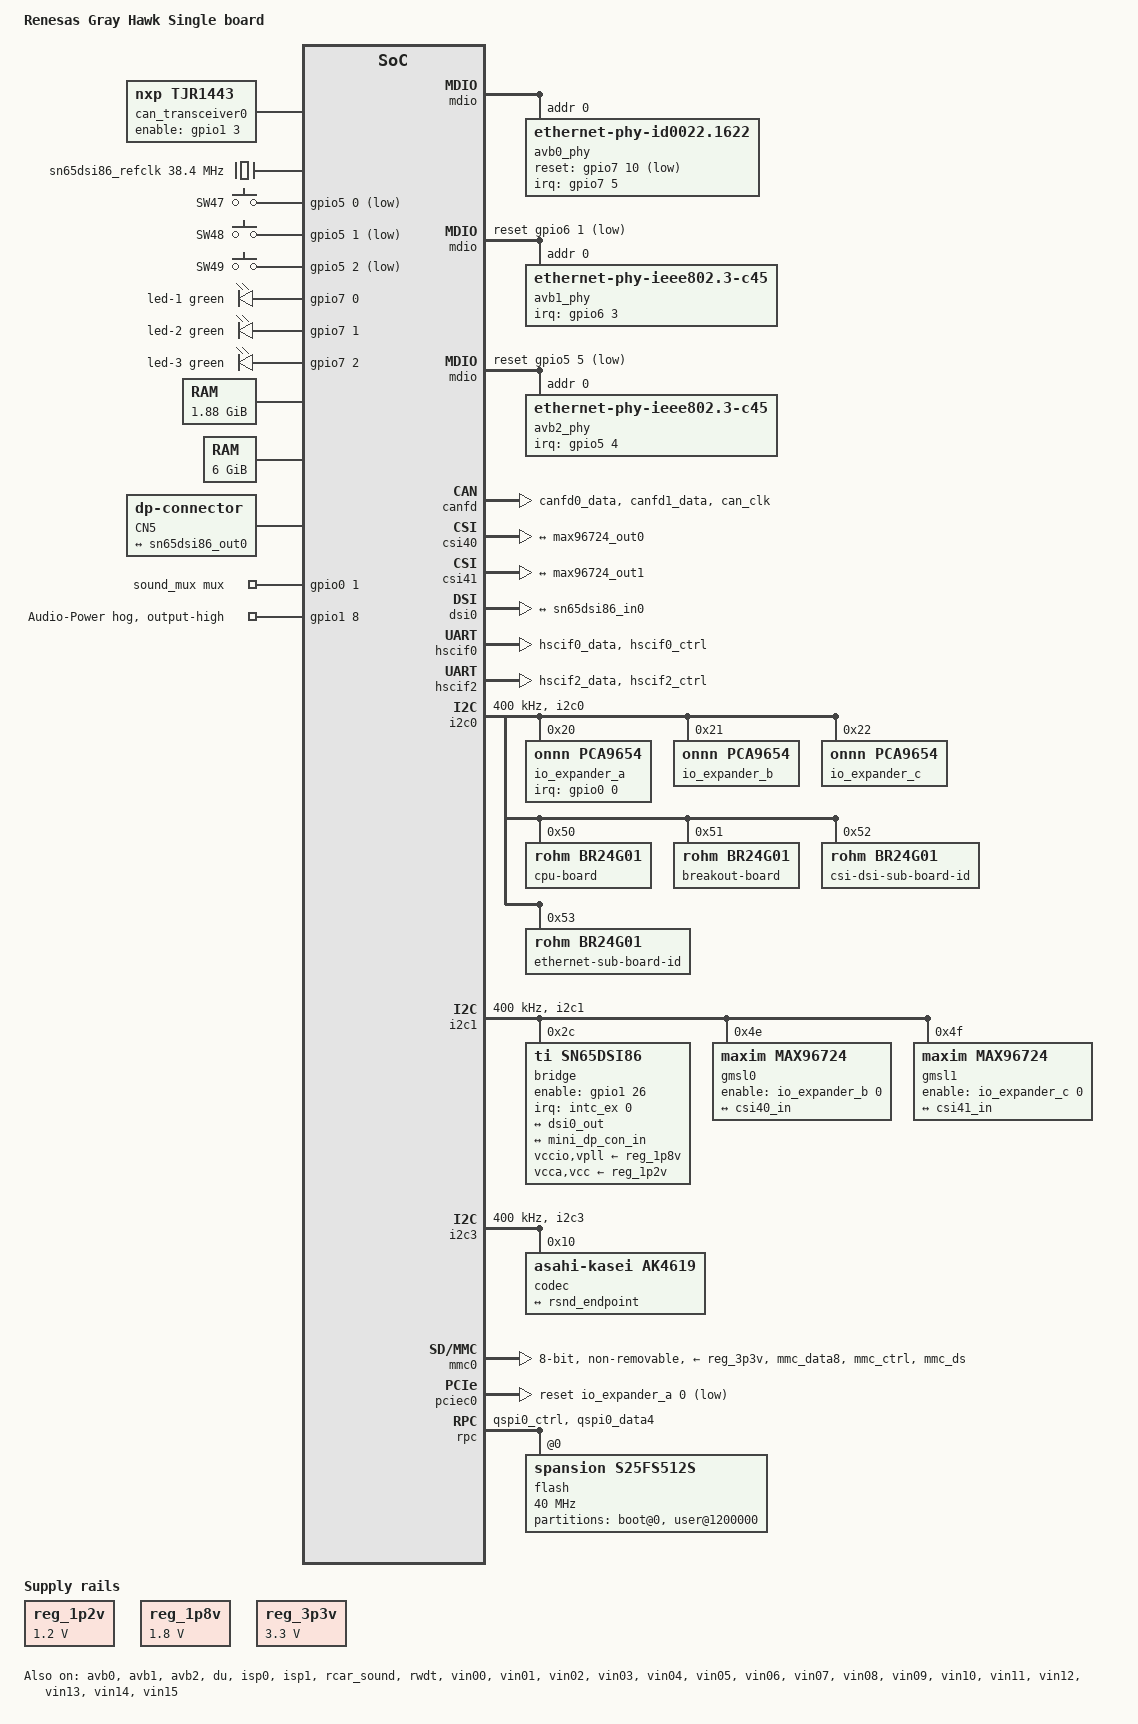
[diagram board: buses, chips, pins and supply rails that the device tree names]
// SPDX-License-Identifier: (GPL-2.0-only OR BSD-2-Clause)
/*
 * Device Tree Source for the Gray Hawk Single board
 *
 * Copyright (C) 2023 Renesas Electronics Corp.
 * Copyright (C) 2024-2025 Glider bv
 */
/*
 * [How to use Sound]
 *
 * Because R-Car V4M has only 1 SSI, it cannot handle both Playback/Capture
 * at the same time. You need to switch the direction which is controlled
 * by the GP0_01 pin via amixer.
 *
 * Playback (CN9500)
 *	> amixer set "MUX" "Playback"	// for GP0_01
 *	> amixer set "DAC 1" 85%
 *	> aplay xxx.wav
 *
 * Capture (CN9501)
 *	> amixer set "MUX" "Capture"	// for GP0_01
 *	> amixer set "Mic 1" 80%
 *	> amixer set "ADC 1" on
 *	> amixer set 'ADC 1' 80%
 *	> arecord xxx hoge.wav
 */

#include <dt-bindings/gpio/gpio.h>
#include <dt-bindings/input/input.h>
#include <dt-bindings/leds/common.h>
#include <dt-bindings/media/video-interfaces.h>

/ {
	model = "Renesas Gray Hawk Single board";
	compatible = "renesas,gray-hawk-single";

	aliases {
		i2c0 = &i2c0;
		i2c1 = &i2c1;
		i2c2 = &i2c2;
		i2c3 = &i2c3;
		serial0 = &hscif0;
		serial1 = &hscif2;
		ethernet0 = &avb0;
		ethernet1 = &avb1;
		ethernet2 = &avb2;
	};

	can_transceiver0: can-phy0 {
		compatible = "nxp,tjr1443";
		#phy-cells = <0>;
		enable-gpios = <&gpio1 3 GPIO_ACTIVE_HIGH>;
		max-bitrate = <5000000>;
	};

	chosen {
		bootargs = "ignore_loglevel rw root=/dev/nfs ip=on";
		stdout-path = "serial0:921600n8";
	};

	sn65dsi86_refclk: clk-x6 {
		compatible = "fixed-clock";
		#clock-cells = <0>;
		clock-frequency = <38400000>;
	};

	keys {
		compatible = "gpio-keys";

		pinctrl-0 = <&keys_pins>;
		pinctrl-names = "default";

		key-1 {
			gpios = <&gpio5 0 GPIO_ACTIVE_LOW>;
			linux,code = <KEY_1>;
			label = "SW47";
			wakeup-source;
			debounce-interval = <20>;
		};

		key-2 {
			gpios = <&gpio5 1 GPIO_ACTIVE_LOW>;
			linux,code = <KEY_2>;
			label = "SW48";
			wakeup-source;
			debounce-interval = <20>;
		};

		key-3 {
			gpios = <&gpio5 2 GPIO_ACTIVE_LOW>;
			linux,code = <KEY_3>;
			label = "SW49";
			wakeup-source;
			debounce-interval = <20>;
		};
	};

	leds {
		compatible = "gpio-leds";

		led-1 {
			gpios = <&gpio7 0 GPIO_ACTIVE_HIGH>;
			color = <LED_COLOR_ID_GREEN>;
			function = LED_FUNCTION_INDICATOR;
			function-enumerator = <1>;
		};

		led-2 {
			gpios = <&gpio7 1 GPIO_ACTIVE_HIGH>;
			color = <LED_COLOR_ID_GREEN>;
			function = LED_FUNCTION_INDICATOR;
			function-enumerator = <2>;
		};

		led-3 {
			gpios = <&gpio7 2 GPIO_ACTIVE_HIGH>;
			color = <LED_COLOR_ID_GREEN>;
			function = LED_FUNCTION_INDICATOR;
			function-enumerator = <3>;
		};
	};

	memory@48000000 {
		device_type = "memory";
		/* first 128MB is reserved for secure area. */
		reg = <0x0 0x48000000 0x0 0x78000000>;
	};

	memory@480000000 {
		device_type = "memory";
		reg = <0x4 0x80000000 0x1 0x80000000>;
	};

	pcie_clk: clk-9fgv0841-pci {
		compatible = "fixed-clock";
		clock-frequency = <100000000>;
		#clock-cells = <0>;
	};

	mini-dp-con {
		compatible = "dp-connector";
		label = "CN5";
		type = "mini";

		port {
			mini_dp_con_in: endpoint {
				remote-endpoint = <&sn65dsi86_out0>;
			};
		};
	};

	reg_1p2v: regulator-1p2v {
		compatible = "regulator-fixed";
		regulator-name = "fixed-1.2V";
		regulator-min-microvolt = <1200000>;
		regulator-max-microvolt = <1200000>;
		regulator-boot-on;
		regulator-always-on;
	};

	reg_1p8v: regulator-1p8v {
		compatible = "regulator-fixed";
		regulator-name = "fixed-1.8V";
		regulator-min-microvolt = <1800000>;
		regulator-max-microvolt = <1800000>;
		regulator-boot-on;
		regulator-always-on;
	};

	reg_3p3v: regulator-3p3v {
		compatible = "regulator-fixed";
		regulator-name = "fixed-3.3V";
		regulator-min-microvolt = <3300000>;
		regulator-max-microvolt = <3300000>;
		regulator-boot-on;
		regulator-always-on;
	};

	sound_mux: sound-mux {
		compatible = "simple-audio-mux";
		mux-gpios = <&gpio0 1 GPIO_ACTIVE_HIGH>;
		state-labels = "Playback", "Capture";
	};

	sound_card: sound {
		compatible = "audio-graph-card2";
		label = "rcar-sound";
		aux-devs = <&sound_mux>; // for GP0_01

		links = <&rsnd_port>; // AK4619 Audio Codec
	};
};

&audio_clkin {
	clock-frequency = <24576000>;
};

&avb0 {
	pinctrl-0 = <&avb0_pins>;
	pinctrl-names = "default";
	phy-handle = <&avb0_phy>;
	tx-internal-delay-ps = <2000>;
	status = "okay";

	mdio {
		#address-cells = <1>;
		#size-cells = <0>;

		avb0_phy: ethernet-phy@0 {
			compatible = "ethernet-phy-id0022.1622",
				"ethernet-phy-ieee802.3-c22";
				rxc-skew-ps = <1500>;
				reg = <0>;
				interrupts-extended = <&gpio7 5 IRQ_TYPE_LEVEL_LOW>;
				reset-gpios = <&gpio7 10 GPIO_ACTIVE_LOW>;
		};
	};
};

&avb1 {
	pinctrl-0 = <&avb1_pins>;
	pinctrl-names = "default";
	phy-handle = <&avb1_phy>;
	status = "okay";

	mdio {
		#address-cells = <1>;
		#size-cells = <0>;

		reset-gpios = <&gpio6 1 GPIO_ACTIVE_LOW>;
		reset-post-delay-us = <4000>;

		avb1_phy: ethernet-phy@0 {
			compatible = "ethernet-phy-ieee802.3-c45";
			reg = <0>;
			interrupts-extended = <&gpio6 3 IRQ_TYPE_LEVEL_LOW>;
		};
	};
};

&avb2 {
	pinctrl-0 = <&avb2_pins>;
	pinctrl-names = "default";
	phy-handle = <&avb2_phy>;
	status = "okay";

	mdio {
		#address-cells = <1>;
		#size-cells = <0>;

		reset-gpios = <&gpio5 5 GPIO_ACTIVE_LOW>;
		reset-post-delay-us = <4000>;

		avb2_phy: ethernet-phy@0 {
			compatible = "ethernet-phy-ieee802.3-c45";
			reg = <0>;
			interrupts-extended = <&gpio5 4 IRQ_TYPE_LEVEL_LOW>;
		};
	};
};

&can_clk {
	clock-frequency = <40000000>;
};

&canfd {
	pinctrl-0 = <&canfd0_pins>, <&canfd1_pins>, <&can_clk_pins>;
	pinctrl-names = "default";
	status = "okay";

	channel0 {
		status = "okay";
		phys = <&can_transceiver0>;
	};

	channel1 {
		status = "okay";
	};
};

&csi40 {
	status = "okay";

	ports {
		#address-cells = <1>;
		#size-cells = <0>;

		port@0 {
			reg = <0>;

			csi40_in: endpoint {
				bus-type = <MEDIA_BUS_TYPE_CSI2_DPHY>;
				clock-lanes = <0>;
				data-lanes = <1 2 3 4>;
				remote-endpoint = <&max96724_out0>;
			};
		};
	};
};

&csi41 {
	status = "okay";

	ports {
		#address-cells = <1>;
		#size-cells = <0>;

		port@0 {
			reg = <0>;

			csi41_in: endpoint {
				bus-type = <MEDIA_BUS_TYPE_CSI2_DPHY>;
				clock-lanes = <0>;
				data-lanes = <1 2 3 4>;
				remote-endpoint = <&max96724_out1>;
			};
		};
	};
};

&dsi0 {
	status = "okay";

	ports {
		port@1 {
			reg = <1>;

			dsi0_out: endpoint {
				remote-endpoint = <&sn65dsi86_in0>;
				data-lanes = <1 2 3 4>;
			};
		};
	};
};

&du {
	status = "okay";
};

&extal_clk {
	clock-frequency = <16666666>;
};

&extalr_clk {
	clock-frequency = <32768>;
};

&gpio1 {
	audio-power-hog {
		gpio-hog;
		gpios = <8 GPIO_ACTIVE_HIGH>;
		output-high;
		line-name = "Audio-Power";
	};
};

&hscif0 {
	pinctrl-0 = <&hscif0_pins>;
	pinctrl-names = "default";
	bootph-all;

	uart-has-rtscts;
	status = "okay";
};

&hscif2 {
	pinctrl-0 = <&hscif2_pins>;
	pinctrl-names = "default";

	uart-has-rtscts;
	status = "okay";
};

&i2c0 {
	pinctrl-0 = <&i2c0_pins>;
	pinctrl-names = "default";

	status = "okay";
	clock-frequency = <400000>;

	io_expander_a: gpio@20 {
		compatible = "onnn,pca9654";
		reg = <0x20>;
		interrupts-extended = <&gpio0 0 IRQ_TYPE_LEVEL_LOW>;
		gpio-controller;
		#gpio-cells = <2>;
		interrupt-controller;
		#interrupt-cells = <2>;
	};

	io_expander_b: gpio@21 {
		compatible = "onnn,pca9654";
		reg = <0x21>;
		gpio-controller;
		#gpio-cells = <2>;
	};

	io_expander_c: gpio@22 {
		compatible = "onnn,pca9654";
		reg = <0x22>;
		gpio-controller;
		#gpio-cells = <2>;
	};

	eeprom@50 {
		compatible = "rohm,br24g01", "atmel,24c01";
		label = "cpu-board";
		reg = <0x50>;
		pagesize = <8>;
	};

	eeprom@51 {
		compatible = "rohm,br24g01", "atmel,24c01";
		label = "breakout-board";
		reg = <0x51>;
		pagesize = <8>;
	};

	eeprom@52 {
		compatible = "rohm,br24g01", "atmel,24c01";
		label = "csi-dsi-sub-board-id";
		reg = <0x52>;
		pagesize = <8>;
	};

	eeprom@53 {
		compatible = "rohm,br24g01", "atmel,24c01";
		label = "ethernet-sub-board-id";
		reg = <0x53>;
		pagesize = <8>;
	};
};

&i2c1 {
	pinctrl-0 = <&i2c1_pins>;
	pinctrl-names = "default";

	status = "okay";
	clock-frequency = <400000>;

	bridge@2c {
		pinctrl-0 = <&irq0_pins>;
		pinctrl-names = "default";

		compatible = "ti,sn65dsi86";
		reg = <0x2c>;

		clocks = <&sn65dsi86_refclk>;
		clock-names = "refclk";

		interrupts-extended = <&intc_ex 0 IRQ_TYPE_LEVEL_HIGH>;

		enable-gpios = <&gpio1 26 GPIO_ACTIVE_HIGH>;

		vccio-supply = <&reg_1p8v>;
		vpll-supply = <&reg_1p8v>;
		vcca-supply = <&reg_1p2v>;
		vcc-supply = <&reg_1p2v>;

		ports {
			#address-cells = <1>;
			#size-cells = <0>;

			port@0 {
				reg = <0>;

				sn65dsi86_in0: endpoint {
					remote-endpoint = <&dsi0_out>;
				};
			};

			port@1 {
				reg = <1>;

				sn65dsi86_out0: endpoint {
					remote-endpoint = <&mini_dp_con_in>;
				};
			};
		};
	};

	gmsl0: gmsl-deserializer@4e {
		compatible = "maxim,max96724";
		reg = <0x4e>;
		enable-gpios = <&io_expander_b 0 GPIO_ACTIVE_HIGH>;

		ports {
			#address-cells = <1>;
			#size-cells = <0>;

			port@4 {
				reg = <4>;
				max96724_out0: endpoint {
					bus-type = <MEDIA_BUS_TYPE_CSI2_DPHY>;
					clock-lanes = <0>;
					data-lanes = <1 2 3 4>;
					remote-endpoint = <&csi40_in>;
				};
			};
		};
	};

	gmsl1: gmsl-deserializer@4f {
		compatible = "maxim,max96724";
		reg = <0x4f>;
		enable-gpios = <&io_expander_c 0 GPIO_ACTIVE_HIGH>;

		ports {
			#address-cells = <1>;
			#size-cells = <0>;

			port@4 {
				reg = <4>;
				max96724_out1: endpoint {
					bus-type = <MEDIA_BUS_TYPE_CSI2_DPHY>;
					clock-lanes = <0>;
					data-lanes = <1 2 3 4>;
					remote-endpoint = <&csi41_in>;
				};
			};
		};
	};
};

&i2c3 {
	pinctrl-0 = <&i2c3_pins>;
	pinctrl-names = "default";

	status = "okay";
	clock-frequency = <400000>;

	codec@10 {
		compatible = "asahi-kasei,ak4619";
		reg = <0x10>;

		clocks = <&rcar_sound>;
		clock-names = "mclk";

		#sound-dai-cells = <0>;
		port {
			ak4619_endpoint: endpoint {
				remote-endpoint = <&rsnd_endpoint>;
			};
		};
	};
};

&isp0 {
	status = "okay";
};

&isp1 {
	status = "okay";
};

&mmc0 {
	pinctrl-0 = <&mmc_pins>;
	pinctrl-1 = <&mmc_pins>;
	pinctrl-names = "default", "state_uhs";

	vmmc-supply = <&reg_3p3v>;
	vqmmc-supply = <&reg_1p8v>;
	mmc-hs200-1_8v;
	mmc-hs400-1_8v;
	bus-width = <8>;
	no-sd;
	no-sdio;
	non-removable;
	full-pwr-cycle-in-suspend;
	status = "okay";
};

&pcie0_clkref {
	compatible = "gpio-gate-clock";
	clocks = <&pcie_clk>;
	enable-gpios = <&gpio4 21 GPIO_ACTIVE_LOW>;
	/delete-property/ clock-frequency;
};

&pciec0 {
	reset-gpios = <&io_expander_a 0 GPIO_ACTIVE_LOW>;
	status = "okay";
};

&pfc {
	pinctrl-0 = <&scif_clk_pins>, <&scif_clk2_pins>;
	pinctrl-names = "default";

	avb0_pins: avb0 {
		mux {
			groups = "avb0_link", "avb0_mdio", "avb0_rgmii",
				 "avb0_txcrefclk";
			function = "avb0";
		};

		pins_mdio {
			groups = "avb0_mdio";
			drive-strength = <21>;
		};

		pins_mii {
			groups = "avb0_rgmii";
			drive-strength = <21>;
		};
	};

	avb1_pins: avb1 {
		mux {
			groups = "avb1_link", "avb1_mdio", "avb1_rgmii",
				 "avb1_txcrefclk";
			function = "avb1";
		};

		link {
			groups = "avb1_link";
			bias-disable;
		};

		mdio {
			groups = "avb1_mdio";
			drive-strength = <24>;
			bias-disable;
		};

		rgmii {
			groups = "avb1_rgmii";
			drive-strength = <24>;
			bias-disable;
		};
	};

	avb2_pins: avb2 {
		mux {
			groups = "avb2_link", "avb2_mdio", "avb2_rgmii",
				 "avb2_txcrefclk";
			function = "avb2";
		};

		link {
			groups = "avb2_link";
			bias-disable;
		};

		mdio {
			groups = "avb2_mdio";
			drive-strength = <24>;
			bias-disable;
		};

		rgmii {
			groups = "avb2_rgmii";
			drive-strength = <24>;
			bias-disable;
		};
	};

	can_clk_pins: can-clk {
		groups = "can_clk";
		function = "can_clk";
	};

	canfd0_pins: canfd0 {
		groups = "canfd0_data";
		function = "canfd0";
	};

	canfd1_pins: canfd1 {
		groups = "canfd1_data";
		function = "canfd1";
	};

	hscif0_pins: hscif0 {
		groups = "hscif0_data", "hscif0_ctrl";
		function = "hscif0";
	};

	hscif2_pins: hscif2 {
		groups = "hscif2_data", "hscif2_ctrl";
		function = "hscif2";
	};

	i2c0_pins: i2c0 {
		groups = "i2c0";
		function = "i2c0";
	};

	i2c1_pins: i2c1 {
		groups = "i2c1";
		function = "i2c1";
	};

	i2c3_pins: i2c3 {
		groups = "i2c3";
		function = "i2c3";
	};

	irq0_pins: irq0_pins {
		groups = "intc_ex_irq0_a";
		function = "intc_ex";
	};

	keys_pins: keys {
		pins = "GP_5_0", "GP_5_1", "GP_5_2";
		bias-pull-up;
	};

	mmc_pins: mmc {
		groups = "mmc_data8", "mmc_ctrl", "mmc_ds";
		function = "mmc";
		power-source = <1800>;
	};

	qspi0_pins: qspi0 {
		groups = "qspi0_ctrl", "qspi0_data4";
		function = "qspi0";
	};

	scif_clk_pins: scif-clk {
		groups = "scif_clk";
		function = "scif_clk";
	};

	scif_clk2_pins: scif-clk2 {
		groups = "scif_clk2";
		function = "scif_clk2";
	};

	sound_clk_pins: sound_clk {
		groups = "audio_clkin", "audio_clkout";
		function = "audio_clk";
	};

	sound_pins: sound {
		groups = "ssi_ctrl", "ssi_data";
		function = "ssi";
	};
};

&rcar_sound {
	pinctrl-0 = <&sound_clk_pins>, <&sound_pins>;
	pinctrl-names = "default";

	status = "okay";

	/* audio_clkout */
	clock-frequency = <12288000>;

	ports {
		rsnd_port: port {
			rsnd_endpoint: endpoint {
				remote-endpoint = <&ak4619_endpoint>;
				bitclock-master;
				frame-master;

				/* see above [How to use Sound] */
				playback = <&ssi0>;
				capture  = <&ssi0>;
			};
		};
	};
};

&rpc {
	pinctrl-0 = <&qspi0_pins>;
	pinctrl-names = "default";

	status = "okay";

	flash@0 {
		compatible = "spansion,s25fs512s", "jedec,spi-nor";
		reg = <0>;
		spi-max-frequency = <40000000>;
		spi-rx-bus-width = <4>;

		partitions {
			compatible = "fixed-partitions";
			#address-cells = <1>;
			#size-cells = <1>;

			boot@0 {
				reg = <0x0 0x1200000>;
				read-only;
			};
			user@1200000 {
				reg = <0x1200000 0x2e00000>;
			};
		};
	};
};

&rwdt {
	timeout-sec = <60>;
	status = "okay";
};

&scif_clk {
	clock-frequency = <24000000>;
};

&scif_clk2 {
	clock-frequency = <24000000>;
};

&vin00 {
	status = "okay";
};

&vin01 {
	status = "okay";
};

&vin02 {
	status = "okay";
};

&vin03 {
	status = "okay";
};

&vin04 {
	status = "okay";
};

&vin05 {
	status = "okay";
};

&vin06 {
	status = "okay";
};

&vin07 {
	status = "okay";
};

&vin08 {
	status = "okay";
};

&vin09 {
	status = "okay";
};

&vin10 {
	status = "okay";
};

&vin11 {
	status = "okay";
};

&vin12 {
	status = "okay";
};

&vin13 {
	status = "okay";
};

&vin14 {
	status = "okay";
};

&vin15 {
	status = "okay";
};
